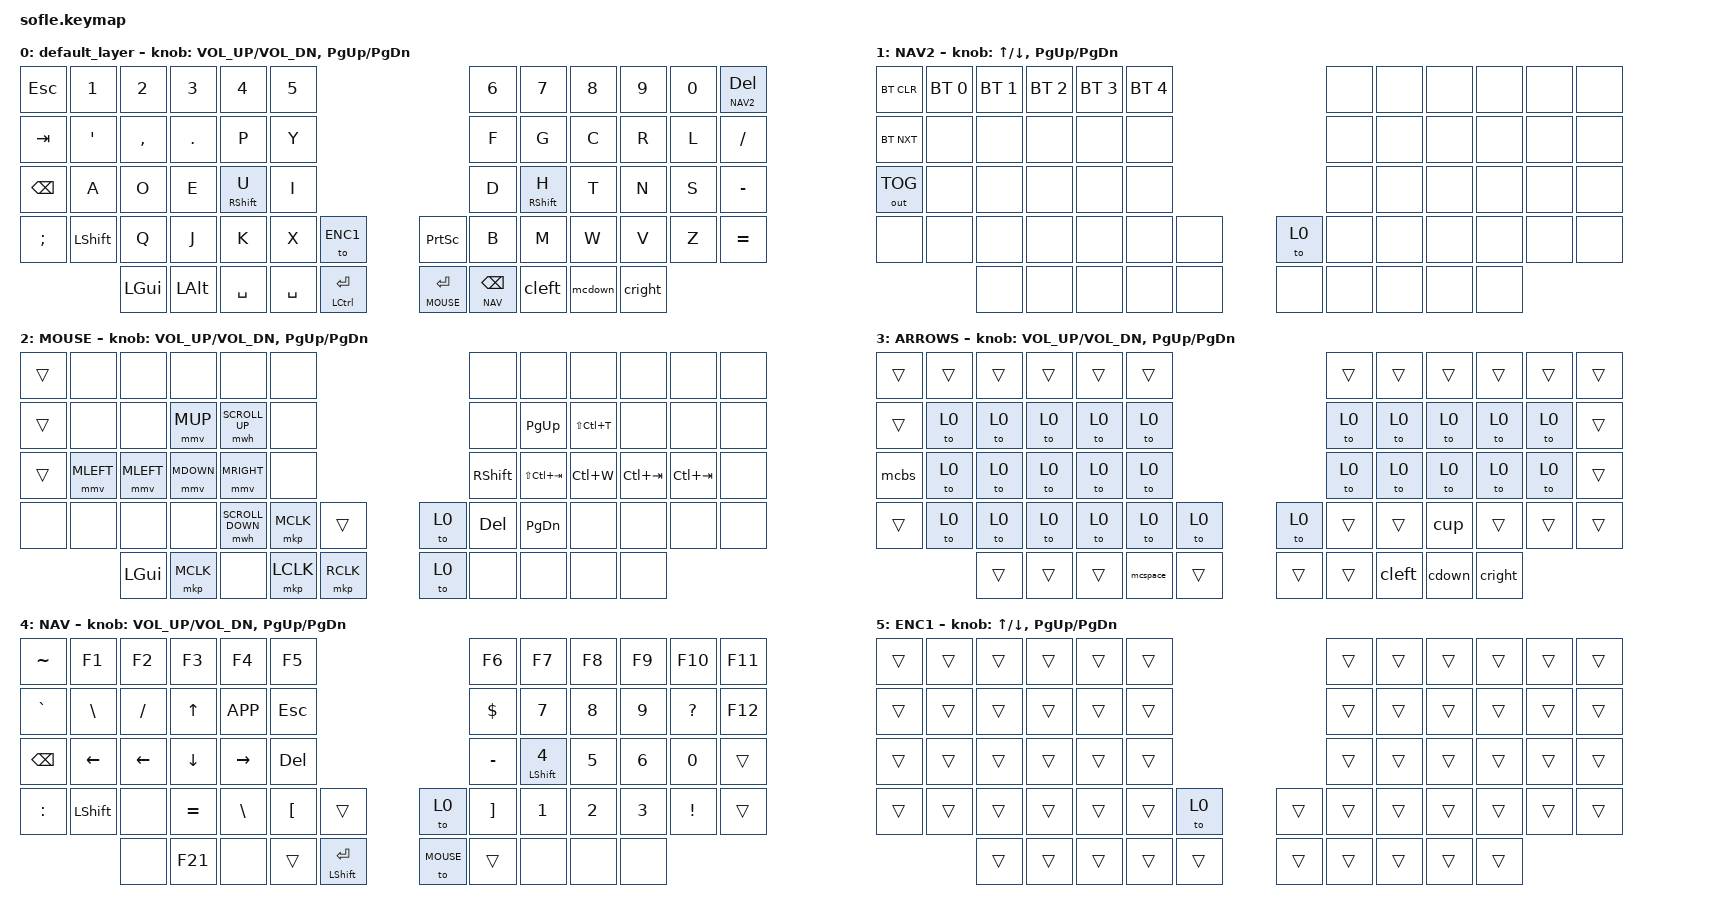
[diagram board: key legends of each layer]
#include <behaviors.dtsi>
#include <dt-bindings/zmk/keys.h> 
#include <dt-bindings/zmk/bt.h>
#include <dt-bindings/zmk/mouse.h>
#include <dt-bindings/zmk/outputs.h>

#define DEFAULT 0
#define NAV2    1
#define MOUSE   2
#define ARROWS  3
#define NAV     4
#define ENC1    5

#define SEARCH    LS(F12)
#define JOURNAL   F21

//Mouse Movement
#define MUP       MOVE(0,     -1200)
#define MLEFT     MOVE(-1200, 0)
#define MDOWN     MOVE(0,     1200) 
#define MRIGHT    MOVE(1200 , 0) 
#define MSUP      SCROLL_UP
#define MSDOWN    SCROLL_DOWN

//Ctrl + Arrows
#define CUP     LS(LC(T))
#define CLEFT   LS(LC(TAB))
#define CDOWN   LC(W)
#define CRIGHT  LC(TAB)

/ {
    macros {
        mcleft: mcleft {
            label = "mcleft";
            compatible = "zmk,behavior-macro";
            #binding-cells = <0>;
            bindings
                = <&to ARROWS &cleft>;
         };
        mcright: mcright {
            label = "mcright";
            compatible = "zmk,behavior-macro";
            #binding-cells = <0>;
            bindings
               =  <&to ARROWS &cright>;
         };
         mcdown: mcdown {
            label = "mcdown";
            compatible = "zmk,behavior-macro";
            #binding-cells = <0>;
            bindings
                = <&to ARROWS &cdown>;
          };
          mcup: mcup {
            label = "mcup";
            compatible = "zmk,behavior-macro";
            #binding-cells = <0>;
            bindings
                = <&to ARROWS &cup>;
           };
           
         mcspace: mcspace {
            label = "mcspace";
            compatible = "zmk,behavior-macro";
            #binding-cells = <0>;
            bindings
                = <&to 0 &kp SPACE>;
           };
        mcbs: mcspace {
            label = "mcbs";
            compatible = "zmk,behavior-macro";
            #binding-cells = <0>;
            bindings
                = <&to 0 &kp BACKSPACE>;
           };       
    };  
    behaviors { 
        cup: cup {
            compatible = "zmk,behavior-mod-morph";
            label = "cup";
            #binding-cells = <0>;
            bindings = <&kp UP>, <&kp CUP>;
            mods = <(MOD_LCTL|MOD_RCTL)>;
        };
        cdown: cdown {
            compatible = "zmk,behavior-mod-morph";
            label = "cdown";
            #binding-cells = <0>;
            bindings = <&kp DOWN>, <&kp CDOWN>;
            mods = <(MOD_LCTL|MOD_RCTL)>;
        };
        cleft: cleft {
            compatible = "zmk,behavior-mod-morph";
            label = "cleft";
            #binding-cells = <0>;
            bindings = <&kp LEFT>, <&kp CLEFT>;
            mods = <(MOD_LCTL|MOD_RCTL)>;
        };
        cright: cright {
            compatible = "zmk,behavior-mod-morph";
            label = "cright";
            #binding-cells = <0>;
            bindings = <&kp RIGHT>, <&kp CRIGHT>;
            mods = <(MOD_LCTL|MOD_RCTL)>;
        };
        
        ctrljournal: ctrljournal {
            compatible = "zmk,behavior-mod-morph";
            label = "ctrljournal";
            #binding-cells = <0>;
            bindings = <&kp LCTRL>, <&kp JOURNAL>;
            mods = <(MOD_RSFT)>;
        };
        backquestion: backquestion {
            compatible = "zmk,behavior-mod-morph";
            label = "backquestion";
            #binding-cells = <0>;
            bindings = <&kp BACKSPACE>, <&kp QUESTION>;
            mods = <(MOD_LSFT|MOD_RSFT)>;
        };
        hm: homerow_mods {
            compatible = "zmk,behavior-hold-tap";
            label = "HOMEROW_MODS";
            #binding-cells = <2>;
            tapping-term-ms = <160>;
            quick-tap-ms = <0>;
            flavor = "tap-preferred";
            bindings = <&kp>, <&kp>;
        };    
        hm2: homerow_mods2 {
            compatible = "zmk,behavior-hold-tap";
            label = "HOMEROW_MODS";
            #binding-cells = <2>;
            tapping-term-ms = <200>;
            quick-tap-ms = <200>;
            flavor = "tap-preferred";
            bindings = <&kp>, <&kp>;
        };   
        mk: mk {
            compatible = "zmk,behavior-hold-tap";
            label = "mk";
            #binding-cells = <2>;
            tapping-term-ms = <200>;
            quick-tap-ms = <200>;
            flavor = "tap-preferred";
            bindings = <&mo>, <&kp>;
         };
        mm: tap_dance_0 {
            compatible = "zmk,behavior-tap-dance";
            label = "TAP_DANCE_0";
            #binding-cells = <0>;
            tapping-term-ms = <200>;
            bindings = <&mo 1>, <&mo 2>;
        };
    };

    keymap {
        compatible = "zmk,keymap";

        default_layer {
            bindings = <
//╭──────────┬──────────┬──────────┬──────────┬──────────┬───────────╮                         ╭──────────┬──────────┬──────────┬──────────┬──────────┬───────────╮
    &kp ESC    &kp N1     &kp N2     &kp N3     &kp N4      &kp N5                                &kp N6     &kp N7      &kp N8     &kp N9     &kp N0    &mk NAV2 DEL
//├──────────┼──────────┼──────────┼──────────┼──────────┼───────────┤                         ├──────────┼──────────┼──────────┼──────────┼──────────┼───────────┤ 
    &kp TAB    &kp SQT    &kp COMMA  &kp DOT    &kp P       &kp Y                                 &kp F      &kp G       &kp C      &kp R      &kp L     &kp FSLH
//├──────────┼──────────┼──────────┼──────────┼──────────┼───────────┤                         ├──────────┼──────────┼──────────┼──────────┼──────────┼───────────┤ 
    &kp BSPC    &kp A      &kp O     &kp E      &hm RSHIFT U &kp I                                &kp D      &hm RSHIFT H  &kp T    &kp N      &kp S     &kp MINUS
//├──────────┼──────────┼──────────┼──────────┼──────────┼───────────┼───────────╮  ╭──────────┼──────────┼──────────┼──────────┼──────────┼──────────┼───────────┤ 
    &kp SEMI   &kp LSHIFT &kp Q     &kp J      &kp K        &kp X      &to ENC1      &kp PSCRN    &kp B     &kp M       &kp W       &kp V      &kp Z     &kp EQUAL
//╰──────────┴──────────┼──────────┼──────────┼──────────┼───────────┼───────────┤  ├──────────┼──────────┼──────────┼──────────┼──────────┼──────────┴───────────╯
                        &kp LGUI  &kp LALT   &kp SPACE &kp SPACE &hm2 LCTRL ENTER   &mk MOUSE ENTER &mk NAV BSPC &cleft  &mcdown &cright 
//                      ╰──────────┴──────────┴──────────┴───────────┴───────────╯  ╰──────────┴──────────┴──────────┴───────────┴─────────╯
         >;           
                             sensor-bindings = <&inc_dec_kp C_VOL_UP C_VOL_DN &inc_dec_kp PG_UP PG_DN>;
        };

        NAV2 {
            bindings = <
//╭──────────┬──────────┬──────────┬──────────┬──────────┬───────────╮                         ╭──────────┬──────────┬──────────┬──────────┬──────────┬───────────╮
&bt BT_CLR &bt BT_SEL 0 &bt BT_SEL 1 &bt BT_SEL 2 &bt BT_SEL 3 &bt BT_SEL 4                       &none      &none      &none     &none       &none      &none
//├──────────┼──────────┼──────────┼──────────┼──────────┼───────────┤                         ├──────────┼──────────┼──────────┼──────────┼──────────┼───────────┤ 
   &bt BT_NXT  &none      &none     &none       &none       &none                                &none      &none      &none     &none       &none      &none  
//├──────────┼──────────┼──────────┼──────────┼──────────┼───────────┤                         ├──────────┼──────────┼──────────┼──────────┼──────────┼───────────┤ 
    &out OUT_TOG &none    &none     &none       &none       &none                                 &none      &none      &none     &none       &none      &none 
//├──────────┼──────────┼──────────┼──────────┼──────────┼───────────┼───────────╮  ╭──────────┼──────────┼──────────┼──────────┼──────────┼──────────┼───────────┤ 
     &none      &none    &none       &none       &none       &none       &none              &to 0     &none       &none     &none       &none      &none     &none
//╰──────────┴──────────┼──────────┼──────────┼──────────┼───────────┼───────────┤  ├──────────┼──────────┼──────────┼──────────┼──────────┼──────────┴───────────╯
                           &none     &none       &none       &none       &none          &none     &none      &none       &none     &none    
//                      ╰──────────┴──────────┴──────────┴───────────┴───────────╯  ╰──────────┴──────────┴──────────┴───────────┴─────────╯
            >;

            sensor-bindings = <&inc_dec_kp UP DOWN &inc_dec_kp PG_UP PG_DN>;
        };
        
        MOUSE {
            bindings = <
//╭──────────┬──────────┬──────────┬──────────┬──────────┬───────────╮                         ╭──────────┬──────────┬──────────┬──────────┬──────────┬───────────╮
      &trans    &none      &none       &none       &none      &none                                &none     &none      &none       &none       &none      &none
//├──────────┼──────────┼──────────┼──────────┼──────────┼───────────┤                         ├──────────┼──────────┼──────────┼──────────┼──────────┼───────────┤ 
    &trans      &none     &none     &mmv MUP   &mwh MSUP     &none                                 &none     &kp PG_UP  &kp CUP     &none       &none      &none  
//├──────────┼──────────┼──────────┼──────────┼──────────┼───────────┤                         ├──────────┼──────────┼──────────┼──────────┼──────────┼───────────┤ 
    &trans    &mmv MLEFT &mmv MLEFT  &mmv MDOWN &mmv MRIGHT  &none                                &kp RSHIFT   &kp CLEFT  &kp CDOWN   &kp CRIGHT  &kp CRIGHT &none     
//├──────────┼──────────┼──────────┼──────────┼──────────┼───────────┼───────────╮  ╭──────────┼──────────┼──────────┼──────────┼──────────┼──────────┼───────────┤ 
     &none      &none      &none      &none     &mwh MSDOWN &mkp MCLK &trans             &to 0    &kp DEL     &kp PG_DN  &none       &none       &none      &none
//╰──────────┴──────────┼──────────┼──────────┼──────────┼───────────┼───────────┤  ├──────────┼──────────┼──────────┼──────────┼──────────┼──────────┴───────────╯
                          &kp LGUI    &mkp MCLK  &none   &mkp LCLK &mkp RCLK         &to 0      &none     &none      &none       &none
//                      ╰──────────┴──────────┴──────────┴───────────┴───────────╯  ╰──────────┴──────────┴──────────┴───────────┴─────────╯
            >;

            sensor-bindings = <&inc_dec_kp C_VOL_UP C_VOL_DN &inc_dec_kp PG_UP PG_DN>;
        };
        
                            ARROWS {
            bindings = <
//╭──────────┬──────────┬──────────┬──────────┬──────────┬───────────╮                         ╭──────────┬──────────┬──────────┬──────────┬──────────┬───────────╮
    &trans     &trans     &trans     &trans      &trans     &trans                                &trans     &trans     &trans     &trans      &trans     &trans  
//├──────────┼──────────┼──────────┼──────────┼──────────┼───────────┤                         ├──────────┼──────────┼──────────┼──────────┼──────────┼───────────┤ 
    &trans      &to 0       &to 0      &to 0       &to 0     &to 0                               &to 0        &to 0      &to 0       &to 0     &to 0   &trans 
//├──────────┼──────────┼──────────┼──────────┼──────────┼───────────┤                         ├──────────┼──────────┼──────────┼──────────┼──────────┼───────────┤ 
    &mcbs       &to 0       &to 0      &to 0       &to 0     &to 0                                &to 0       &to 0      &to 0       &to 0     &to 0  &trans 
//├──────────┼──────────┼──────────┼──────────┼──────────┼───────────┼───────────╮  ╭──────────┼──────────┼──────────┼──────────┼──────────┼──────────┼───────────┤ 
    &trans     &to 0       &to 0      &to 0       &to 0     &to 0     &to 0           &to 0      &trans     &trans     &cup     &trans      &trans     &trans  
//╰──────────┴──────────┼──────────┼──────────┼──────────┼───────────┼───────────┤  ├──────────┼──────────┼──────────┼──────────┼──────────┼──────────┴───────────╯
                           &trans     &trans     &trans     &mcspace    &trans        &trans         &trans    &cleft     &cdown     &cright     
//                      ╰──────────┴──────────┴──────────┴───────────┴───────────╯  ╰──────────┴──────────┴──────────┴───────────┴─────────╯
            >;
                             sensor-bindings = <&inc_dec_kp C_VOL_UP C_VOL_DN &inc_dec_kp PG_UP PG_DN>;
 
        };

        NAV {
            bindings = <
//╭──────────┬──────────┬──────────┬──────────┬──────────┬───────────╮                         ╭──────────┬──────────┬──────────┬──────────┬──────────┬───────────╮
    &kp TILDE  &kp F1     &kp F2     &kp F3     &kp F4      &kp F5                               &kp F6      &kp F7     &kp F8     &kp F9    &kp F10      &kp F11
//├──────────┼──────────┼──────────┼──────────┼──────────┼───────────┤                         ├──────────┼──────────┼──────────┼──────────┼──────────┼───────────┤ 
    &kp GRAVE   &kp BSLH  &kp FSLH   &kp UP     &kp K_APP   &kp ESC                              &kp DOLLAR  &kp N7     &kp N8     &kp N9    &kp QUESTION &kp F12
//├──────────┼──────────┼──────────┼──────────┼──────────┼───────────┤                         ├──────────┼──────────┼──────────┼──────────┼──────────┼───────────┤ 
    &kp BSPC   &kp LEFT   &kp LEFT   &kp DOWN  &kp RIGHT &kp DEL                          &kp MINUS   &hm LSHIFT N4     &kp N5     &kp N6    &kp N0       &trans 
//├──────────┼──────────┼──────────┼──────────┼──────────┼───────────┼───────────╮  ╭──────────┼──────────┼──────────┼──────────┼──────────┼──────────┼───────────┤ 
    &kp COLON  &kp LSHIFT &none      &kp EQUAL  &kp BSLH   &kp LBKT    &trans      &to 0      &kp RBKT    &kp N1     &kp N2     &kp N3    &kp EXCL     &trans 
//╰──────────┴──────────┼──────────┼──────────┼──────────┼───────────┼───────────┤  ├──────────┼──────────┼──────────┼──────────┼──────────┼──────────┴───────────╯
                          &none    &kp JOURNAL   &none      &trans &hm2 LSHIFT ENTER  &to MOUSE     &trans       &none      &none     &none
//                      ╰──────────┴──────────┴──────────┴───────────┴───────────╯  ╰──────────┴──────────┴──────────┴───────────┴─────────╯
            >;

            sensor-bindings = <&inc_dec_kp C_VOL_UP C_VOL_DN &inc_dec_kp PG_UP PG_DN>;
                    
          };
          
        ENC1 {
            bindings = <
//╭──────────┬──────────┬──────────┬──────────┬──────────┬───────────╮                         ╭──────────┬──────────┬──────────┬──────────┬──────────┬───────────╮
    &trans     &trans     &trans     &trans      &trans     &trans                                &trans     &trans     &trans     &trans      &trans     &trans  
//├──────────┼──────────┼──────────┼──────────┼──────────┼───────────┤                         ├──────────┼──────────┼──────────┼──────────┼──────────┼───────────┤ 
    &trans     &trans     &trans     &trans      &trans     &trans                                &trans     &trans     &trans     &trans      &trans     &trans  
//├──────────┼──────────┼──────────┼──────────┼──────────┼───────────┤                         ├──────────┼──────────┼──────────┼──────────┼──────────┼───────────┤ 
    &trans     &trans     &trans     &trans      &trans     &trans                                &trans     &trans     &trans     &trans      &trans     &trans  
//├──────────┼──────────┼──────────┼──────────┼──────────┼───────────┼───────────╮  ╭──────────┼──────────┼──────────┼──────────┼──────────┼──────────┼───────────┤ 
    &trans     &trans     &trans     &trans      &trans     &trans     &to 0          &trans       &trans     &trans     &trans     &trans      &trans     &trans  
//╰──────────┴──────────┼──────────┼──────────┼──────────┼───────────┼───────────┤  ├──────────┼──────────┼──────────┼──────────┼──────────┼──────────┴───────────╯
                           &trans     &trans     &trans     &trans      &trans        &trans      &trans     &trans     &trans     &trans     
//                      ╰──────────┴──────────┴──────────┴───────────┴───────────╯  ╰──────────┴──────────┴──────────┴───────────┴─────────╯
            >;
            sensor-bindings = <&inc_dec_kp UP DOWN &inc_dec_kp PG_UP PG_DN>;
 
        };
            
    };
};
